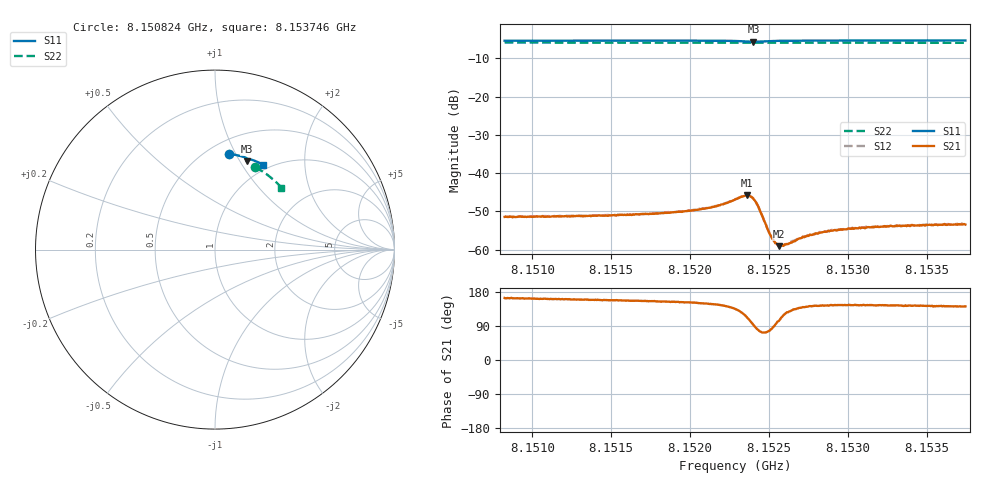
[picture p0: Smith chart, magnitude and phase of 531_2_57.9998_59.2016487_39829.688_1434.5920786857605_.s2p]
#  HZ  S  RI  R  50.00
! Rohde & Schwarz Vector Network Analyzer
! Rohde-Schwarz,ZNB20-2Port,1311601062101988,3.16
! Created: UTC 3/21/2024, 1:14:06 AM
! freq[Hz]  re:S11  im:S11  re:S21  im:S21  re:S12  im:S12  re:S22  im:S22
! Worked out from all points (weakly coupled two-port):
!   401 points, 8.150824 GHz to 8.153746 GHz, reference 50 ohm
!   highest |S21| = -45.81 dB at 8.152358 GHz (marker M1); lowest = -59.1 dB at 8.152563 GHz (marker M2)
!   lowest |S11| = -5.6 dB at 8.152402 GHz (marker M3), VSWR 3.19, Z = 39.7 + j53.6 ohm
!   |S11| at or under -10 dB: nowhere
!   |S22| runs from -5.9 to -5.8 dB; largest |S21 - S12| = 0.00011
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8.150824e9  0.079 0.5335  -0.00258 0.000762  -0.00261 0.000805  0.2243 0.4584
8.1513135e9  0.1128 0.528  -0.00258 0.000969  -0.0026 0.00104  0.2519 0.4433
8.151803e9  0.1469 0.5201  -0.0027 0.00128  -0.00272 0.0013  0.2782 0.4264
8.151993e9  0.1606 0.516  -0.00284 0.00151  -0.00287 0.00159  0.2882 0.4194
8.1521245e9  0.1705 0.5123  -0.00299 0.00189  -0.00303 0.00195  0.295 0.4143
8.1521829e9  0.1753 0.51  -0.00314 0.00214  -0.00313 0.00218  0.2981 0.4121
8.1522852e9  0.1834 0.5031  -0.0032 0.0032  -0.00317 0.00326  0.3032 0.408
8.1523583e9  0.1846 0.4934  -0.00207 0.00469  -0.00204 0.00472  0.3065 0.4049
8.1523802e9  0.1819 0.4912  -0.0012 0.00487  -0.00114 0.00493  0.3075 0.4039
8.1524021e9  0.1784 0.491  -0.000213 0.00461  -0.000147 0.00468  0.3085 0.4032
8.1524167e9  0.1764 0.4923  0.000311 0.00421  0.000362 0.0042  0.309 0.4026
8.1524387e9  0.1749 0.4953  0.00078 0.00333  0.000831 0.00338  0.31 0.402
8.1525117e9  0.1803 0.5032  0.000254 0.00151  0.000271 0.0015  0.3136 0.3994
8.152541e9  0.1835 0.504  -7.02e-05 0.00122  -5.3e-05 0.00123  0.3153 0.3982
8.1525629e9  0.1859 0.5042  -0.000249 0.00109  -0.000276 0.00111  0.3164 0.3973
8.1526067e9  0.1902 0.5044  -0.000642 0.000983  -0.000607 0.001  0.3187 0.3957
8.1527017e9  0.1984 0.5028  -0.00105 0.000949  -0.00104 0.000979  0.3234 0.3917
8.1527748e9  0.2041 0.5011  -0.00124 0.000959  -0.00125 0.000985  0.3268 0.3886
8.1529063e9  0.2135 0.4979  -0.00144 0.00104  -0.00146 0.00106  0.3331 0.3831
8.1531035e9  0.227 0.4926  -0.00159 0.0011  -0.00157 0.00117  0.3423 0.3745
8.1532643e9  0.2375 0.488  -0.00164 0.00121  -0.00162 0.00121  0.3495 0.3673
8.1537465e9  0.2677 0.473  -0.00167 0.00133  -0.00168 0.00137  0.3704 0.3451
